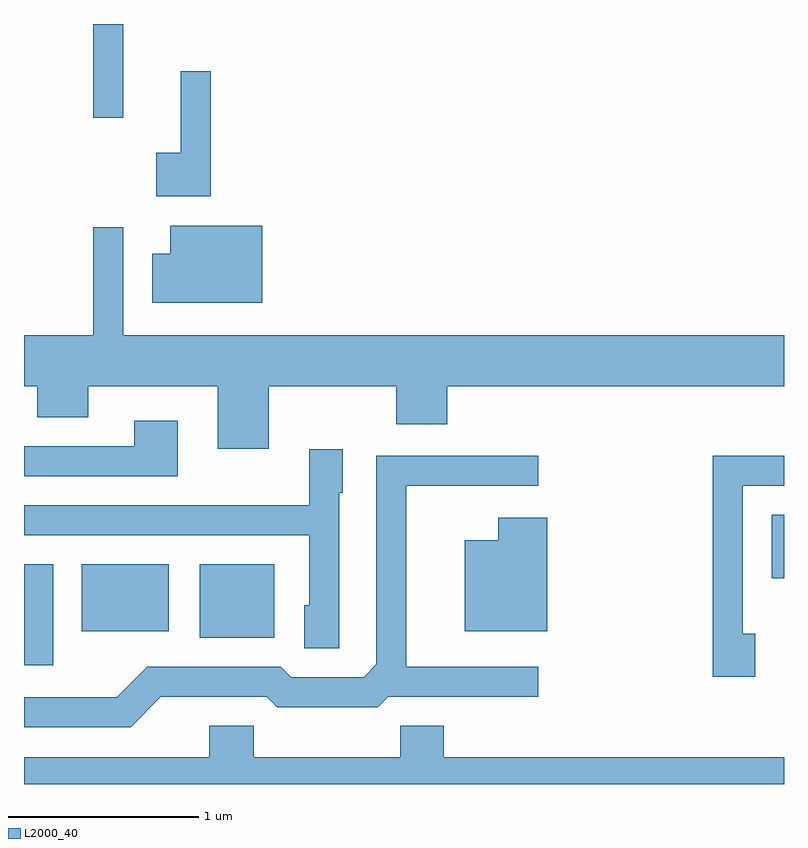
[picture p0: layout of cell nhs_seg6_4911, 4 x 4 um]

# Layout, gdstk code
import gdstk
lib = gdstk.Library(unit=1e-6, precision=1e-09)
def R(c, l, rs):  # rectangles x0, y0, x1, y1
    for r in rs: c.add(gdstk.rectangle(r[:2], r[2:], *l))
def P(c, l, *ps):  # polygons
    for p in ps: c.add(gdstk.Polygon(p, *l))
L2000_40 = (2000, 40)

nhs_seg6_4911 = lib.new_cell('nhs_seg6_4911')
R(nhs_seg6_4911, L2000_40, [(335.611,1550.788,335.764,1551.319), (336.536,1550.931,336.929,1551.319), (335.916,1550.966,336.374,1551.319), (339.546,1551.246,339.611,1551.579), (335.976,1553.668,336.134,1554.162)])
P(nhs_seg6_4911, L2000_40, [(336.594,1553.913),(336.436,1553.913),(336.436,1553.484),(336.306,1553.484),(336.306,1553.256),(336.594,1553.256)],
  [(336.864,1553.099),(336.381,1553.099),(336.381,1552.954),(336.286,1552.954),(336.286,1552.696),(336.864,1552.696)],
  [(336.899,1552.256),(337.571,1552.256),(337.571,1552.056),(337.839,1552.056),(337.839,1552.256),(339.611,1552.256),(339.611,1552.524),(336.134,1552.524),(336.134,1553.093),(335.976,1553.093),(335.976,1552.524),(335.611,1552.524),(335.611,1552.256),(335.681,1552.256),(335.681,1552.091),(335.949,1552.091),(335.949,1552.256),(336.631,1552.256),(336.631,1551.926),(336.899,1551.926)],
  [(336.419,1552.074),(336.191,1552.074),(336.191,1551.939),(335.611,1551.939),(335.611,1551.781),(336.419,1551.781)],
  [(337.269,1551.696),(337.289,1551.696),(337.289,1551.924),(337.111,1551.924),(337.111,1551.629),(335.611,1551.629),(335.611,1551.471),(337.111,1551.471),(337.111,1551.104),(337.086,1551.104),(337.086,1550.876),(337.269,1550.876)],
  [(336.332,1550.621),(336.889,1550.621),(336.944,1550.566),(337.472,1550.566),(337.527,1550.621),(338.318,1550.621),(338.318,1550.779),(337.624,1550.779),(337.624,1551.731),(338.318,1551.731),(338.318,1551.889),(337.466,1551.889),(337.466,1550.792),(337.399,1550.724),(337.017,1550.724),(336.962,1550.779),(336.259,1550.779),(336.099,1550.619),(335.611,1550.619),(335.611,1550.461),(336.172,1550.461)],
  [(339.459,1550.954),(339.394,1550.954),(339.394,1551.731),(339.611,1551.731),(339.611,1551.889),(339.236,1551.889),(339.236,1550.726),(339.459,1550.726)],
  [(338.364,1551.564),(338.106,1551.564),(338.106,1551.444),(337.931,1551.444),(337.931,1550.966),(338.364,1550.966)],
  [(339.611,1550.304),(337.819,1550.304),(337.819,1550.469),(337.591,1550.469),(337.591,1550.304),(336.819,1550.304),(336.819,1550.469),(336.586,1550.469),(336.586,1550.304),(335.611,1550.304),(335.611,1550.162),(339.611,1550.162)])

lib.write_gds('nhs_seg6_4911.gds')
